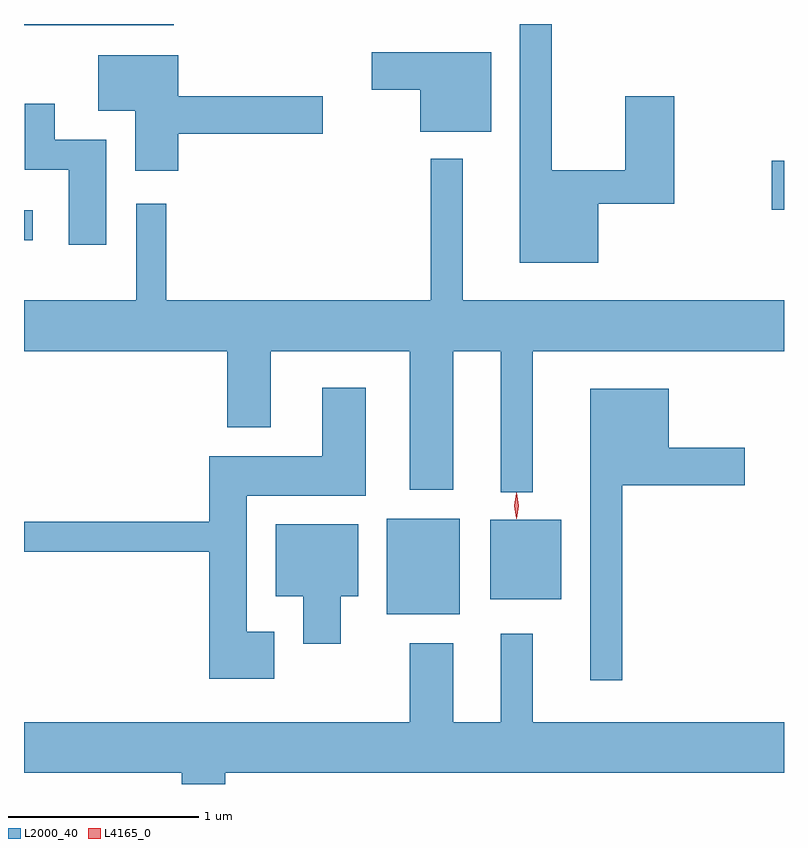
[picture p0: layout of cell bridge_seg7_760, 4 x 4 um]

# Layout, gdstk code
import gdstk
lib = gdstk.Library(unit=1e-6, precision=1e-09)
def R(c, l, rs):  # rectangles x0, y0, x1, y1
    for r in rs: c.add(gdstk.rectangle(r[:2], r[2:], *l))
def P(c, l, *ps):  # polygons
    for p in ps: c.add(gdstk.Polygon(p, *l))
L2000_40 = (2000, 40)
L4165_0 = (4165, 0)

bridge_seg7_760 = lib.new_cell('bridge_seg7_760')
R(bridge_seg7_760, L2000_40, [(248.421,1739.571,248.804,1740.074), (248.966,1739.651,249.339,1740.069), (246.511,1741.541,246.558,1741.699), (250.446,1741.701,250.511,1741.959), (246.511,1742.671,247.298,1742.678)])
P(bridge_seg7_760, L2000_40, [(249.534,1741.731),(249.934,1741.731),(249.934,1742.299),(249.676,1742.299),(249.676,1741.909),(249.289,1741.909),(249.289,1742.678),(249.121,1742.678),(249.121,1741.421),(249.534,1741.421)],
  [(248.969,1742.529),(248.341,1742.529),(248.341,1742.331),(248.596,1742.331),(248.596,1742.111),(248.969,1742.111)],
  [(247.324,1742.101),(248.084,1742.101),(248.084,1742.299),(247.324,1742.299),(247.324,1742.514),(246.901,1742.514),(246.901,1742.221),(247.096,1742.221),(247.096,1741.906),(247.324,1741.906)],
  [(246.944,1742.069),(246.674,1742.069),(246.674,1742.258),(246.516,1742.258),(246.516,1741.911),(246.746,1741.911),(246.746,1741.516),(246.944,1741.516)],
  [(249.189,1740.956),(250.511,1740.956),(250.511,1741.224),(248.819,1741.224),(248.819,1741.968),(248.651,1741.968),(248.651,1741.224),(247.259,1741.224),(247.259,1741.733),(247.101,1741.733),(247.101,1741.224),(246.511,1741.224),(246.511,1740.956),(247.581,1740.956),(247.581,1740.556),(247.809,1740.556),(247.809,1740.956),(248.541,1740.956),(248.541,1740.226),(248.769,1740.226),(248.769,1740.956),(249.021,1740.956),(249.021,1740.213),(249.189,1740.213)],
  [(247.829,1739.479),(247.684,1739.479),(247.684,1740.196),(248.309,1740.196),(248.309,1740.764),(248.081,1740.764),(248.081,1740.404),(247.486,1740.404),(247.486,1740.059),(246.511,1740.059),(246.511,1739.901),(247.486,1739.901),(247.486,1739.231),(247.829,1739.231)],
  [(249.659,1740.251),(250.304,1740.251),(250.304,1740.449),(249.904,1740.449),(249.904,1740.759),(249.491,1740.759),(249.491,1739.223),(249.659,1739.223)],
  [(248.179,1739.666),(248.269,1739.666),(248.269,1740.044),(247.836,1740.044),(247.836,1739.666),(247.981,1739.666),(247.981,1739.416),(248.179,1739.416)],
  [(247.569,1738.736),(250.511,1738.736),(250.511,1739.004),(249.189,1739.004),(249.189,1739.468),(249.021,1739.468),(249.021,1739.004),(248.769,1739.004),(248.769,1739.419),(248.541,1739.419),(248.541,1739.004),(246.511,1739.004),(246.511,1738.736),(247.341,1738.736),(247.341,1738.678),(247.569,1738.678)])
P(bridge_seg7_760, L4165_0, [(249.103,1740.074),(249.094,1740.142),(249.103,1740.21),(249.104,1740.21),(249.104,1740.21),(249.114,1740.142),(249.104,1740.074),(249.104,1740.074)],
  [(249.102,1740.078),(249.102,1740.078),(249.092,1740.142),(249.102,1740.207),(249.102,1740.207),(249.103,1740.207),(249.112,1740.142),(249.103,1740.078)])

lib.write_gds('bridge_seg7_760.gds')
